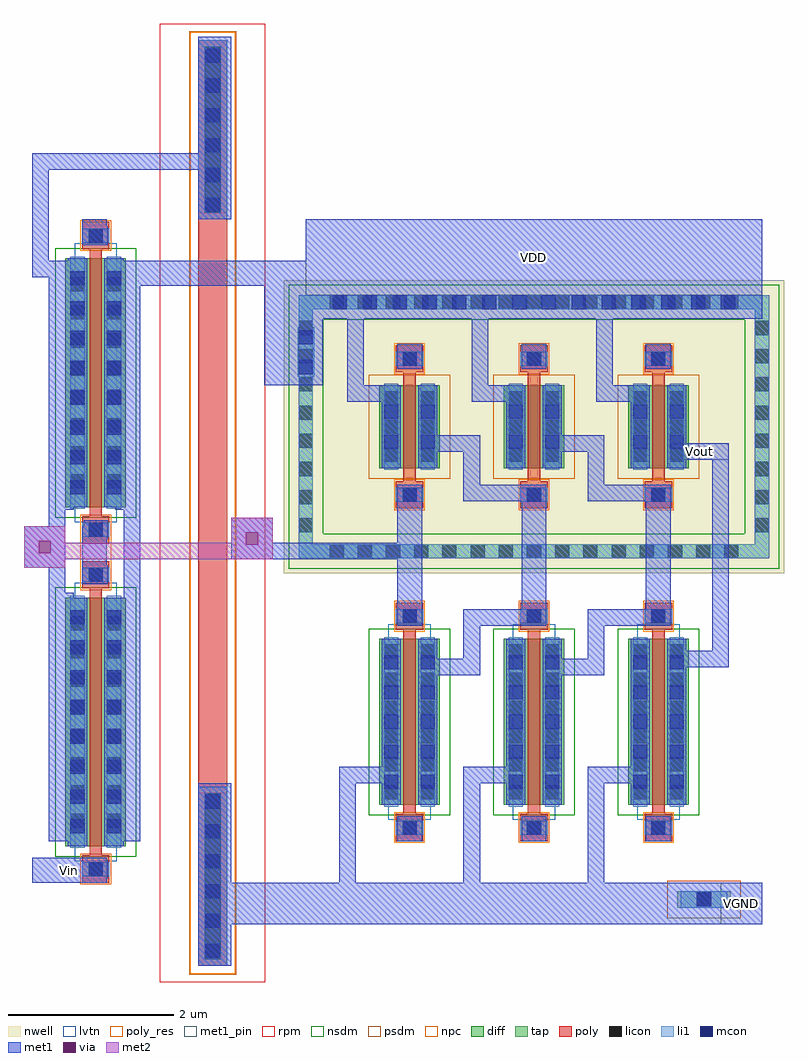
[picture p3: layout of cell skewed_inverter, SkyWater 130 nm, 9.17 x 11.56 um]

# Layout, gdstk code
import gdstk
lib = gdstk.Library(unit=1e-6, precision=1e-09)
def R(c, l, rs):  # rectangles x0, y0, x1, y1
    for r in rs: c.add(gdstk.rectangle(r[:2], r[2:], *l))
def A(c, l, x, y, w, h, nx, ny, dx, dy):  # array of equal rectangles
    R(c, l, [(x+i*dx, y+j*dy, x+i*dx+w, y+j*dy+h) for i in range(nx) for j in range(ny)])
nwell = (64, 20)
diff = (65, 20)
tap = (65, 44)
poly_res = (66, 13)
poly = (66, 20)
licon = (66, 44)
li1 = (67, 20)
mcon = (67, 44)
met1_pin = (68, 16)
met1 = (68, 20)
via = (68, 44)
met2 = (69, 20)
rpm = (86, 20)
nsdm = (93, 44)
psdm = (94, 20)
npc = (95, 20)
lvtn = (125, 44)

sky130_fd_pr__res_high_p = lib.new_cell('sky130_fd_pr__res_high_po_0p35_ATGHDM')
R(sky130_fd_pr__res_high_p, poly_res, [(-0.175,-3.5,0.175,3.5)])
R(sky130_fd_pr__res_high_p, poly, [(-0.175,-5.58,0.175,5.58)])
R(sky130_fd_pr__res_high_p, licon, [(-0.095,-5.5,0.095,-3.5), (-0.095,3.5,0.095,5.5)])
R(sky130_fd_pr__res_high_p, li1, [(-0.175,-5.58,0.175,-3.42), (-0.175,3.42,0.175,5.58)])
A(sky130_fd_pr__res_high_p, mcon, -0.085, -5.485, 0.17, 0.17, 1, 6, 0, 0.36)
A(sky130_fd_pr__res_high_p, mcon, -0.085, 3.51, 0.17, 0.17, 1, 6, 0, 0.36)
R(sky130_fd_pr__res_high_p, met1, [(-0.125,-5.55,0.125,-3.445), (-0.125,3.445,0.125,5.55)])
R(sky130_fd_pr__res_high_p, rpm, [(-0.635,-5.78,0.635,5.78)])
R(sky130_fd_pr__res_high_p, psdm, [(-0.285,-5.69,0.285,5.69)])
R(sky130_fd_pr__res_high_p, npc, [(-0.27,-5.675,0.27,5.675)])

sky130_fd_pr__nfet_01v8_ = lib.new_cell('sky130_fd_pr__nfet_01v8_lvt_DGHRZE')
R(sky130_fd_pr__nfet_01v8_, diff, [(-0.365,-3.545,0.365,-0.545), (-0.365,0.545,0.365,3.545)])
R(sky130_fd_pr__nfet_01v8_, poly, [(-0.165,-3.985,0.165,-3.655), (-0.075,-3.655,0.075,-0.435), (-0.165,-0.435,0.165,-0.105), (-0.165,0.105,0.165,0.435), (-0.075,0.435,0.075,3.655), (-0.165,3.655,0.165,3.985)])
A(sky130_fd_pr__nfet_01v8_, licon, -0.305, -3.32, 0.17, 0.17, 1, 8, 0, 0.34)
A(sky130_fd_pr__nfet_01v8_, licon, 0.135, -3.32, 0.17, 0.17, 1, 8, 0, 0.34)
A(sky130_fd_pr__nfet_01v8_, licon, -0.305, 0.77, 0.17, 0.17, 1, 8, 0, 0.34)
A(sky130_fd_pr__nfet_01v8_, licon, 0.135, 0.77, 0.17, 0.17, 1, 8, 0, 0.34)
R(sky130_fd_pr__nfet_01v8_, licon, [(-0.085,-3.905,0.085,-3.735), (-0.085,-0.355,0.085,-0.185), (-0.085,0.185,0.085,0.355), (-0.085,3.735,0.085,3.905)])
R(sky130_fd_pr__nfet_01v8_, li1, [(-0.165,-3.905,0.165,-3.735), (-0.305,-3.565,-0.135,-0.525), (0.135,-3.565,0.305,-0.525), (-0.165,-0.355,0.165,-0.185), (-0.165,0.185,0.165,0.355), (-0.305,0.525,-0.135,3.565), (0.135,0.525,0.305,3.565), (-0.165,3.735,0.165,3.905)])
A(sky130_fd_pr__nfet_01v8_, mcon, -0.305, -3.39, 0.17, 0.17, 1, 8, 0, 0.36)
A(sky130_fd_pr__nfet_01v8_, mcon, 0.135, -3.39, 0.17, 0.17, 1, 8, 0, 0.36)
A(sky130_fd_pr__nfet_01v8_, mcon, -0.305, 0.7, 0.17, 0.17, 1, 8, 0, 0.36)
A(sky130_fd_pr__nfet_01v8_, mcon, 0.135, 0.7, 0.17, 0.17, 1, 8, 0, 0.36)
R(sky130_fd_pr__nfet_01v8_, mcon, [(-0.085,-3.905,0.085,-3.735), (-0.085,-0.355,0.085,-0.185), (-0.085,0.185,0.085,0.355), (-0.085,3.735,0.085,3.905)])
R(sky130_fd_pr__nfet_01v8_, met1, [(-0.145,-3.935,0.145,-3.705), (-0.335,-3.545,-0.105,-0.545), (0.105,-3.545,0.335,-0.545), (-0.145,-0.385,0.145,-0.155), (-0.145,0.155,0.145,0.385), (-0.335,0.545,-0.105,3.545), (0.105,0.545,0.335,3.545), (-0.145,3.705,0.145,3.935)])
R(sky130_fd_pr__nfet_01v8_, nsdm, [(-0.49,-3.67,0.49,-0.42), (-0.49,0.42,0.49,3.67)])
R(sky130_fd_pr__nfet_01v8_, npc, [(-0.185,-4.005,0.185,-3.635), (-0.185,-0.455,0.185,0.455), (-0.185,3.635,0.185,4.005)])
R(sky130_fd_pr__nfet_01v8_, lvtn, [(-0.255,-3.725,0.255,-0.365), (-0.255,0.365,0.255,3.725)])

sky130_fd_pr__pfet_01v8_ = lib.new_cell('sky130_fd_pr__pfet_01v8_CWU6QJ')
R(sky130_fd_pr__pfet_01v8_, nwell, [(-0.545,-1,0.545,1)])
R(sky130_fd_pr__pfet_01v8_, diff, [(-0.365,-0.5,0.365,0.5)])
R(sky130_fd_pr__pfet_01v8_, poly, [(-0.165,-0.985,0.165,-0.655), (-0.075,-0.655,0.075,0.655), (-0.165,0.655,0.165,0.985)])
A(sky130_fd_pr__pfet_01v8_, licon, -0.305, -0.425, 0.17, 0.17, 1, 3, 0, 0.34)
A(sky130_fd_pr__pfet_01v8_, licon, 0.135, -0.425, 0.17, 0.17, 1, 3, 0, 0.34)
R(sky130_fd_pr__pfet_01v8_, licon, [(-0.085,-0.905,0.085,-0.735), (-0.085,0.735,0.085,0.905)])
R(sky130_fd_pr__pfet_01v8_, li1, [(-0.165,-0.905,0.165,-0.735), (-0.305,-0.52,-0.135,0.52), (0.135,-0.52,0.305,0.52), (-0.165,0.735,0.165,0.905)])
R(sky130_fd_pr__pfet_01v8_, mcon, [(-0.085,-0.905,0.085,-0.735), (-0.305,-0.265,-0.135,-0.095), (0.135,-0.265,0.305,-0.095), (-0.305,0.095,-0.135,0.265), (0.135,0.095,0.305,0.265), (-0.085,0.735,0.085,0.905)])
R(sky130_fd_pr__pfet_01v8_, met1, [(-0.145,-0.935,0.145,-0.705), (-0.335,-0.5,-0.105,0.5), (0.105,-0.5,0.335,0.5), (-0.145,0.705,0.145,0.935)])
R(sky130_fd_pr__pfet_01v8_, psdm, [(-0.49,-0.625,0.49,0.625)])
R(sky130_fd_pr__pfet_01v8_, npc, [(-0.185,-1.005,0.185,-0.635), (-0.185,0.635,0.185,1.005)])

c_sky130_fd_pr__nfet_01v8_ = lib.new_cell('sky130_fd_pr__nfet_01v8_lvt_JBEGNS')
R(c_sky130_fd_pr__nfet_01v8_, diff, [(-0.365,-1,0.365,1)])
R(c_sky130_fd_pr__nfet_01v8_, poly, [(-0.165,-1.44,0.165,-1.11), (-0.075,-1.11,0.075,1.11), (-0.165,1.11,0.165,1.44)])
A(c_sky130_fd_pr__nfet_01v8_, licon, -0.305, -0.935, 0.17, 0.17, 1, 6, 0, 0.34)
A(c_sky130_fd_pr__nfet_01v8_, licon, 0.135, -0.935, 0.17, 0.17, 1, 6, 0, 0.34)
R(c_sky130_fd_pr__nfet_01v8_, licon, [(-0.085,-1.36,0.085,-1.19), (-0.085,1.19,0.085,1.36)])
R(c_sky130_fd_pr__nfet_01v8_, li1, [(-0.165,-1.36,0.165,-1.19), (-0.305,-1.02,-0.135,1.02), (0.135,-1.02,0.305,1.02), (-0.165,1.19,0.165,1.36)])
A(c_sky130_fd_pr__nfet_01v8_, mcon, -0.305, -0.805, 0.17, 0.17, 1, 5, 0, 0.36)
A(c_sky130_fd_pr__nfet_01v8_, mcon, 0.135, -0.805, 0.17, 0.17, 1, 5, 0, 0.36)
R(c_sky130_fd_pr__nfet_01v8_, mcon, [(-0.085,-1.36,0.085,-1.19), (-0.085,1.19,0.085,1.36)])
R(c_sky130_fd_pr__nfet_01v8_, met1, [(-0.145,-1.39,0.145,-1.16), (-0.335,-1,-0.105,1), (0.105,-1,0.335,1), (-0.145,1.16,0.145,1.39)])
R(c_sky130_fd_pr__nfet_01v8_, nsdm, [(-0.49,-1.125,0.49,1.125)])
R(c_sky130_fd_pr__nfet_01v8_, npc, [(-0.185,-1.46,0.185,-1.09), (-0.185,1.09,0.185,1.46)])
R(c_sky130_fd_pr__nfet_01v8_, lvtn, [(-0.255,-1.18,0.255,1.18)])

skewed_inverter = lib.new_cell('skewed_inverter')
R(skewed_inverter, nwell, [(7.735,-13.765,13.765,-10.235)])
R(skewed_inverter, tap, [(12.48,-17.8,13.12,-17.6), (7.915,-13.585,13.585,-13.415), (7.915,-13.415,8.085,-10.585), (13.415,-13.415,13.585,-10.585), (7.915,-10.585,13.585,-10.415)])
A(skewed_inverter, licon, 8.285, -13.585, 0.17, 0.17, 15, 2, 0.34, 3)
A(skewed_inverter, licon, 7.915, -13.275, 0.17, 0.17, 1, 8, 0, 0.34)
A(skewed_inverter, licon, 13.415, -13.275, 0.17, 0.17, 1, 8, 0, 0.34)
R(skewed_inverter, licon, [(12.715,-17.785,12.885,-17.615)])
R(skewed_inverter, li1, [(12.52,-17.8,13.08,-17.6), (7.915,-13.585,13.585,-13.415), (7.915,-13.415,8.085,-11.4), (13.415,-13.415,13.585,-10.585), (7.9,-11.4,8.1,-10.8), (7.915,-10.8,8.085,-10.585), (7.915,-10.585,13.585,-10.415)])
A(skewed_inverter, mcon, 8.325, -10.585, 0.17, 0.17, 14, 1, 0.36, 0)
R(skewed_inverter, mcon, [(12.715,-17.785,12.885,-17.615), (7.915,-11.365,8.085,-11.195), (7.915,-11.005,8.085,-10.835)])
R(skewed_inverter, met1_pin, [(13,-18,13.5,-17.5), (4.7,-17.5,5.6,-17.2), (12.4,-12.4,13.1,-12.2), (8,-10.415,13.5,-9.5)])
A(skewed_inverter, met1, 8.4, -17.5, 0.2, 1.2, 3, 1, 1.5, 0)
A(skewed_inverter, met1, 9.1, -17, 0.3, 0.3, 3, 2, 1.5, 5.7)
A(skewed_inverter, met1, 8.5, -11.7, 0.6, 0.2, 3, 1, 1.5, 0)
A(skewed_inverter, met1, 8.5, -11.5, 0.2, 0.8, 3, 1, 1.5, 0)
R(skewed_inverter, met1, [(6.7,-18.5,7.1,-18), (6.7,-18,13.5,-17.5), (4.7,-17.5,5.6,-17.2), (6.7,-17.5,7.1,-16.3), (4.9,-17,5.2,-14), (5.7,-17,6,-14.1), (8.4,-16.3,9.1,-16.1), (9.9,-16.3,10.6,-16.1), (11.4,-16.3,12,-16.1), (9.4,-15,10.1,-14.8), (10.9,-15,11.6,-14.8), (12.4,-14.9,13.1,-14.7), (9.9,-14.8,10.1,-14.4), (11.4,-14.8,11.6,-14.4), (12.9,-14.7,13.1,-12.4), (9.1,-14.4,9.4,-13.6), (9.9,-14.4,10.9,-14.2), (11.4,-14.4,12.4,-14.2), (10.6,-14.2,10.9,-12.9), (12.1,-14.2,12.4,-12.9), (5.8,-14.1,6,-13), (4.9,-14,5.1,-13.7), (5.3,-13.9,5.6,-13.2), (4.6,-13.7,5.1,-13.2), (7.1,-13.6,9.4,-13.4), (7.1,-13.4,7.6,-13.1), (9.1,-13.4,9.4,-12.7), (4.9,-13.2,5.1,-13), (4.9,-13,5.2,-10.2), (5.7,-13,6,-12.9), (5.6,-12.9,6,-12.7), (9.9,-12.9,10.9,-12.7), (11.4,-12.9,12.4,-12.7), (5.7,-12.7,6,-10.3), (9.9,-12.7,10.1,-12.3), (11.4,-12.7,11.6,-12.3), (12.4,-12.4,13.1,-12.2), (9.4,-12.3,10.1,-12.1), (10.9,-12.3,11.6,-12.1), (7.5,-11.5,8.2,-10.7), (7.5,-10.7,13.5,-10.3), (5.7,-10.3,13.5,-10), (4.7,-10.2,5.2,-10), (4.7,-10,4.9,-8.9), (8,-10,13.5,-9.5), (5.3,-9.8,5.6,-9.5), (6.7,-9.5,7.1,-8.9), (4.7,-8.9,7.1,-8.7), (6.7,-8.7,7.1,-7.3)])
R(skewed_inverter, via, [(4.775,-13.525,4.925,-13.375), (7.275,-13.425,7.425,-13.275)])
R(skewed_inverter, met2, [(4.6,-13.7,5.1,-13.6), (4.6,-13.6,7.6,-13.4), (4.6,-13.4,5.1,-13.2), (7.1,-13.4,7.6,-13.1)])
R(skewed_inverter, nsdm, [(7.79,-13.71,13.71,-13.29), (7.79,-13.29,8.21,-10.71), (13.29,-13.29,13.71,-10.71), (7.79,-10.71,13.71,-10.29)])
R(skewed_inverter, psdm, [(12.355,-17.925,13.245,-17.475)])
skewed_inverter.add(gdstk.Reference(sky130_fd_pr__res_high_p, (6.875,-12.92)))
skewed_inverter.add(gdstk.Reference(sky130_fd_pr__nfet_01v8_, (5.465,-13.515)))
skewed_inverter.add(gdstk.Reference(sky130_fd_pr__pfet_01v8_, (9.25,-12)))
skewed_inverter.add(gdstk.Reference(c_sky130_fd_pr__nfet_01v8_, (9.25,-15.56)))
skewed_inverter.add(gdstk.Reference(sky130_fd_pr__pfet_01v8_, (12.25,-12)))
skewed_inverter.add(gdstk.Reference(sky130_fd_pr__pfet_01v8_, (10.75,-12)))
skewed_inverter.add(gdstk.Reference(c_sky130_fd_pr__nfet_01v8_, (12.25,-15.56)))
skewed_inverter.add(gdstk.Reference(c_sky130_fd_pr__nfet_01v8_, (10.75,-15.56)))
skewed_inverter.add(gdstk.Label('Vin', (5.15,-17.35), layer=68, texttype=5))
skewed_inverter.add(gdstk.Label('Vout', (12.75,-12.3), layer=68, texttype=5))
skewed_inverter.add(gdstk.Label('VGND', (13.25,-17.75), layer=68, texttype=5))
skewed_inverter.add(gdstk.Label('VDD', (10.75,-9.957), layer=68, texttype=5))

lib.write_gds('skewed_inverter.gds')
